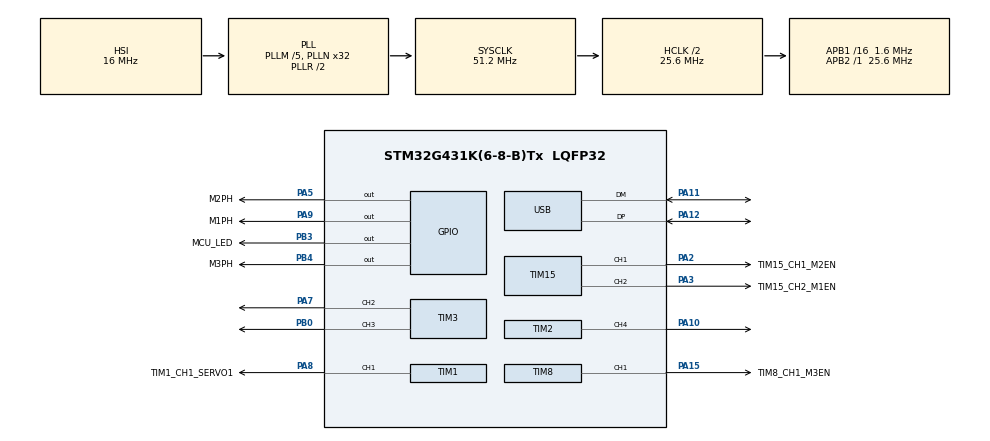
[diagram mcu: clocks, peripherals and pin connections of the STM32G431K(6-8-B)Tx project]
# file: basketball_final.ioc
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Mcu.Family=STM32G4
Mcu.Name=STM32G431K(6-8-B)Tx
Mcu.Package=LQFP32
NVIC.PriorityGroup=NVIC_PRIORITYGROUP_4
NVIC.USB_LP_IRQn=true\:0\:0\:false\:false\:true\:false\:true
PA10.Signal=S_TIM2_CH4
PA11.Mode=Device
PA11.Signal=USB_DM
PA12.Mode=Device
PA12.Signal=USB_DP
PA13.Signal=SYS_JTMS-SWDIO
PA14.Signal=SYS_JTCK-SWCLK
PA15.GPIO_Label=TIM8_CH1_M3EN
PA15.Signal=S_TIM8_CH1
PA2.GPIO_Label=TIM15_CH1_M2EN
PA2.Signal=S_TIM15_CH1
PA3.GPIO_Label=TIM15_CH2_M1EN
PA3.Signal=S_TIM15_CH2
PA5.GPIO_Label=M2PH
PA5.Signal=GPIO_Output
PA7.Signal=S_TIM3_CH2
PA8.GPIO_Label=TIM1_CH1_SERVO1
PA8.Signal=S_TIM1_CH1
PA9.GPIO_Label=M1PH
PA9.Signal=GPIO_Output
PB0.Signal=S_TIM3_CH3
PB3.GPIO_Label=MCU_LED
PB3.Signal=GPIO_Output
PB4.GPIO_Label=M3PH
PB4.Signal=GPIO_Output
ProjectManager.HeapSize=0x200
ProjectManager.StackSize=0x400
ProjectManager.TargetToolchain=STM32CubeIDE
RCC.ADC12Freq_Value=51200000
RCC.AHBCLKDivider=RCC_SYSCLK_DIV2
RCC.AHBFreq_Value=25600000
RCC.APB1CLKDivider=RCC_HCLK_DIV16
RCC.APB1Freq_Value=1600000
RCC.APB1TimFreq_Value=3200000
RCC.APB2Freq_Value=25600000
RCC.APB2TimFreq_Value=25600000
RCC.CK48CLockSelection=RCC_USBCLKSOURCE_HSI48
RCC.CortexFreq_Value=25600000
RCC.EXTERNAL_CLOCK_VALUE=12288000
RCC.HCLKFreq_Value=25600000
RCC.HSE_VALUE=8000000
RCC.HSI48_VALUE=48000000
RCC.HSI_VALUE=16000000
RCC.LSE_VALUE=32768
RCC.PLLM=RCC_PLLM_DIV5
RCC.PLLN=32
RCC.PLLQ=RCC_PLLQ_DIV8
RCC.SYSCLKFreq_VALUE=51200000
RCC.SYSCLKSource=RCC_SYSCLKSOURCE_PLLCLK
RCC.USBFreq_Value=48000000
RCC.VCOOutputFreq_Value=102400000
SH.S_TIM15_CH1.0=TIM15_CH1,PWM Generation1 CH1
SH.S_TIM15_CH2.0=TIM15_CH2,PWM Generation2 CH2
SH.S_TIM1_CH1.0=TIM1_CH1,PWM Generation1 CH1
SH.S_TIM2_CH4.0=TIM2_CH4,PWM Generation4 CH4
SH.S_TIM3_CH2.0=TIM3_CH2,PWM Generation2 CH2
SH.S_TIM3_CH3.0=TIM3_CH3,PWM Generation3 CH3
SH.S_TIM8_CH1.0=TIM8_CH1,PWM Generation1 CH1
TIM1.Channel-PWM\ Generation1\ CH1=TIM_CHANNEL_1
TIM15.Channel-PWM\ Generation1\ CH1=TIM_CHANNEL_1
TIM15.Channel-PWM\ Generation2\ CH2=TIM_CHANNEL_2
TIM2.Channel-PWM\ Generation4\ CH4=TIM_CHANNEL_4
TIM3.Channel-PWM\ Generation2\ CH2=TIM_CHANNEL_2
TIM3.Channel-PWM\ Generation3\ CH3=TIM_CHANNEL_3
TIM8.Channel-PWM\ Generation1\ CH1=TIM_CHANNEL_1
USB_DEVICE.CLASS_NAME_FS=CDC
USB_DEVICE.VirtualMode=Cdc
USB_DEVICE.VirtualModeFS=Cdc_FS
VP_SYS_VS_DBSignals.Mode=DisableDeadBatterySignals
VP_TIM17_VS_ClockSourceINT.Mode=Enable_Timer
VP_USB_DEVICE_VS_USB_DEVICE_CDC_FS.Mode=CDC_FS
board=custom

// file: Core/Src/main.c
/* USER CODE BEGIN Header */
/**
  ******************************************************************************
  * @file           : main.c
  * @brief          : Main program body
  ******************************************************************************
  * @attention
  *
  * <h2><center>&copy; Copyright (c) 2021 STMicroelectronics.
  * All rights reserved.</center></h2>
  *
  * This software component is licensed by ST under BSD 3-Clause license,
  * the "License"; You may not use this file except in compliance with the
  * License. You may obtain a copy of the License at:
  *                        opensource.org/licenses/BSD-3-Clause
  *
  ******************************************************************************
  */
/* USER CODE END Header */
#include "main.h"
#include "usb_device.h"
#include "usbd_cdc_if.h"
#include "stdio.h"
#include "stdlib.h"
#include "string.h"
#include "Math.h"
/* USER CODE BEGIN Includes */
int tv=0;
/* USER CODE END Includes */

TIM_HandleTypeDef htim1;
TIM_HandleTypeDef htim2;
TIM_HandleTypeDef htim3;
TIM_HandleTypeDef htim8;
TIM_HandleTypeDef htim15;
TIM_HandleTypeDef htim17;

void SystemClock_Config(void);
static void MX_GPIO_Init(void);
static void MX_TIM1_Init(void);
static void MX_TIM2_Init(void);
static void MX_TIM3_Init(void);
static void MX_TIM8_Init(void);
static void MX_TIM15_Init(void);
static void MX_TIM17_Init(void);

/* USER CODE BEGIN 0 */
typedef struct Command { // (1)
  int16_t speed1;
  int16_t speed2;
  int16_t speed3;
  uint16_t throwerSpeed;
  uint16_t delimiter; // (2)
} Command;

typedef struct Feedback { // (3)
  int16_t speed1;
  int16_t speed2;
  int16_t speed3;
  uint16_t delimiter;
} Feedback;

char* rec;

uint8_t usbuf[100];
uint8_t lastlen=100;

Command command = {.speed1 = 0, .speed2 = 0, .speed3 = 0, .throwerSpeed = 0, .delimiter = 0}; // (4)
volatile uint8_t isCommandReceived = 0; // (5)

void CDC_On_Receive(uint8_t* buffer, uint32_t* length) { // (6)
  //if (*length == sizeof(Command)) { // (7)
	uint8_t len1=(uint8_t) *length;
	lastlen=len1;
	memset(usbuf, "\0",100);
   memcpy(usbuf, buffer, len1);
	memset(buffer, "\0",100);
   // (8)
    //memcpy(&rec, buffer, 200);
   // if (command.delimiter == 43690) { // (9)
      isCommandReceived = 1;
   // }
 //}
}

uint8_t ret[9][5];
int m2s=0;
uint16_t values[9];
//m1speed,m2speed,m3speed,m1dir,m2dir,m3dir,servo1,servo2,esc

void splitm(uint8_t* msg){

  for (int i=0;i<9;i++){

      values[i]=0;

  }

int count=0;
int mpov=-1;

  for (int i=0;i<lastlen;i++){

    if(msg[i]==';'){int mpov1=mpov;
      while(mpov!=-1){
        values[count]+=(ret[count][mpov1-mpov]-48)*pow(10,mpov);
        mpov--;

      }

      count++; mpov=-1;}

    else{

      mpov++;
      ret[count][mpov]=msg[i];

    }

//    if(msg[i]==';'){ret[0]=10;break;}
//    if(msg[i]==','){ret[0]=50;break;}
//    if(msg[i]==':'){ret[0]=100;break;}
//    if(msg[i]=='|'){ret[0]=0;break;}

  }

}

uint16_t fdbck;

/* USER CODE END 0 */

int main(void)
{

  /* MCU Configuration--------------------------------------------------------*/

  /* Reset of all peripherals, Initializes the Flash interface and the Systick. */
  HAL_Init();

  /* Configure the system clock */
  SystemClock_Config();

  /* Initialize all configured peripherals */
  MX_GPIO_Init();
  MX_USB_Device_Init();
  MX_TIM1_Init();
  MX_TIM2_Init();
  MX_TIM3_Init();
  MX_TIM8_Init();
  MX_TIM15_Init();
  MX_TIM17_Init();

  /* Infinite loop */
  /* USER CODE BEGIN WHILE */

  MX_TIM15_Init();//m1en and m2en
  MX_TIM8_Init();//m3en

  MX_TIM3_Init();//servo2 channel 2
  HAL_TIM_PWM_Start(&htim15, TIM_CHANNEL_2);//m1
  HAL_TIM_PWM_Start(&htim15, TIM_CHANNEL_1);//m2
  HAL_TIM_PWM_Start(&htim8, TIM_CHANNEL_1);//m3
  HAL_TIM_PWM_Start(&htim3, TIM_CHANNEL_2);//servo
  HAL_TIM_PWM_Start(&htim2, TIM_CHANNEL_4);//esc
  HAL_TIM_PWM_Start(&htim3, TIM_CHANNEL_3);//esc

  HAL_GPIO_WritePin(GPIOA, GPIO_PIN_9, GPIO_PIN_SET);
  HAL_GPIO_WritePin(GPIOA, GPIO_PIN_5, GPIO_PIN_SET);
  HAL_GPIO_WritePin(GPIOB, GPIO_PIN_4, GPIO_PIN_SET);

  while (1)
  {
    /* USER CODE END WHILE */

    /* USER CODE BEGIN 3 */

	  if (isCommandReceived) { // (2)
	        isCommandReceived = 0;
	        HAL_GPIO_TogglePin(GPIOB,GPIO_PIN_3); // (3)

	      splitm(usbuf);//allocate values sent from pc to values variable

	      //phase of M1
	      if(values[3]==1)HAL_GPIO_WritePin(GPIOA, GPIO_PIN_9, GPIO_PIN_SET);
	      	  	  else if(values[3]==0)GPIOA -> ODR &= ~GPIO_PIN_9;
	      //phase of M2
	      if(values[4]==1)HAL_GPIO_WritePin(GPIOA, GPIO_PIN_5, GPIO_PIN_SET);
	     	      else if(values[4]==0)GPIOA -> ODR &= ~GPIO_PIN_5;
	      //phase of M3
	      if(values[5]==1)HAL_GPIO_WritePin(GPIOB, M3PH_Pin, GPIO_PIN_SET);
	     	      else if(values[5]==0)GPIOB -> ODR &= ~M3PH_Pin;

	        TIM15->CCR2 = values[0];//M1EN
	          TIM15->CCR1 = values[1];//M2En
	          TIM8->CCR1 = values[2];//M3EN

              //11111;11111;11111;1;1;1;1000;1000;99999 test transmition
//servo and esc receive values from 0-10000, motors from 0 - 65535
int servod=values[6];
servod=(int)servod/1.574;
servod=servod+1640;

	TIM3->CCR2 = servod;//servo2

int escs=values[7];
if(escs!=0){
escs=(int)escs/3.335;
escs=escs+3500;

//
TIM2->CCR4 = escs;//esc
	TIM3->CCR3 = escs;//esc

}

	       //CDC_Transmit_FS(values, sizeof(values)); // (5)

	      }

  }
  /* USER CODE END 3 */
}

void SystemClock_Config(void)
{
  RCC_OscInitTypeDef RCC_OscInitStruct = {0};
  RCC_ClkInitTypeDef RCC_ClkInitStruct = {0};
  RCC_PeriphCLKInitTypeDef PeriphClkInit = {0};

  /** Configure the main internal regulator output voltage
  */
  HAL_PWREx_ControlVoltageScaling(PWR_REGULATOR_VOLTAGE_SCALE1);
  /** Initializes the RCC Oscillators according to the specified parameters
  * in the RCC_OscInitTypeDef structure.
  */
  RCC_OscInitStruct.OscillatorType = RCC_OSCILLATORTYPE_HSI|RCC_OSCILLATORTYPE_HSI48;
  RCC_OscInitStruct.HSIState = RCC_HSI_ON;
  RCC_OscInitStruct.HSICalibrationValue = RCC_HSICALIBRATION_DEFAULT;
  RCC_OscInitStruct.HSI48State = RCC_HSI48_ON;
  RCC_OscInitStruct.PLL.PLLState = RCC_PLL_ON;
  RCC_OscInitStruct.PLL.PLLSource = RCC_PLLSOURCE_HSI;
  RCC_OscInitStruct.PLL.PLLM = RCC_PLLM_DIV5;
  RCC_OscInitStruct.PLL.PLLN = 32;
  RCC_OscInitStruct.PLL.PLLP = RCC_PLLP_DIV2;
  RCC_OscInitStruct.PLL.PLLQ = RCC_PLLQ_DIV8;
  RCC_OscInitStruct.PLL.PLLR = RCC_PLLR_DIV2;
  if (HAL_RCC_OscConfig(&RCC_OscInitStruct) != HAL_OK)
  {
    Error_Handler();
  }
  /** Initializes the CPU, AHB and APB buses clocks
  */
  RCC_ClkInitStruct.ClockType = RCC_CLOCKTYPE_HCLK|RCC_CLOCKTYPE_SYSCLK
                              |RCC_CLOCKTYPE_PCLK1|RCC_CLOCKTYPE_PCLK2;
  RCC_ClkInitStruct.SYSCLKSource = RCC_SYSCLKSOURCE_PLLCLK;
  RCC_ClkInitStruct.AHBCLKDivider = RCC_SYSCLK_DIV2;
  RCC_ClkInitStruct.APB1CLKDivider = RCC_HCLK_DIV16;
  RCC_ClkInitStruct.APB2CLKDivider = RCC_HCLK_DIV1;

  if (HAL_RCC_ClockConfig(&RCC_ClkInitStruct, FLASH_LATENCY_0) != HAL_OK)
  {
    Error_Handler();
  }
  /** Initializes the peripherals clocks
  */
  PeriphClkInit.PeriphClockSelection = RCC_PERIPHCLK_USB;
  PeriphClkInit.UsbClockSelection = RCC_USBCLKSOURCE_HSI48;
  if (HAL_RCCEx_PeriphCLKConfig(&PeriphClkInit) != HAL_OK)
  {
    Error_Handler();
  }
}

static void MX_TIM1_Init(void)
{

  TIM_MasterConfigTypeDef sMasterConfig = {0};
  TIM_OC_InitTypeDef sConfigOC = {0};
  TIM_BreakDeadTimeConfigTypeDef sBreakDeadTimeConfig = {0};

  htim1.Instance = TIM1;
  htim1.Init.Prescaler = 0;
  htim1.Init.CounterMode = TIM_COUNTERMODE_UP;
  htim1.Init.Period = 65535;
  htim1.Init.ClockDivision = TIM_CLOCKDIVISION_DIV1;
  htim1.Init.RepetitionCounter = 0;
  htim1.Init.AutoReloadPreload = TIM_AUTORELOAD_PRELOAD_DISABLE;
  if (HAL_TIM_PWM_Init(&htim1) != HAL_OK)
  {
    Error_Handler();
  }
  sMasterConfig.MasterOutputTrigger = TIM_TRGO_RESET;
  sMasterConfig.MasterOutputTrigger2 = TIM_TRGO2_RESET;
  sMasterConfig.MasterSlaveMode = TIM_MASTERSLAVEMODE_DISABLE;
  if (HAL_TIMEx_MasterConfigSynchronization(&htim1, &sMasterConfig) != HAL_OK)
  {
    Error_Handler();
  }
  sConfigOC.OCMode = TIM_OCMODE_PWM1;
  sConfigOC.Pulse = 0;
  sConfigOC.OCPolarity = TIM_OCPOLARITY_HIGH;
  sConfigOC.OCNPolarity = TIM_OCNPOLARITY_HIGH;
  sConfigOC.OCFastMode = TIM_OCFAST_DISABLE;
  sConfigOC.OCIdleState = TIM_OCIDLESTATE_RESET;
  sConfigOC.OCNIdleState = TIM_OCNIDLESTATE_RESET;
  if (HAL_TIM_PWM_ConfigChannel(&htim1, &sConfigOC, TIM_CHANNEL_1) != HAL_OK)
  {
    Error_Handler();
  }
  sBreakDeadTimeConfig.OffStateRunMode = TIM_OSSR_DISABLE;
  sBreakDeadTimeConfig.OffStateIDLEMode = TIM_OSSI_DISABLE;
  sBreakDeadTimeConfig.LockLevel = TIM_LOCKLEVEL_OFF;
  sBreakDeadTimeConfig.DeadTime = 0;
  sBreakDeadTimeConfig.BreakState = TIM_BREAK_DISABLE;
  sBreakDeadTimeConfig.BreakPolarity = TIM_BREAKPOLARITY_HIGH;
  sBreakDeadTimeConfig.BreakFilter = 0;
  sBreakDeadTimeConfig.BreakAFMode = TIM_BREAK_AFMODE_INPUT;
  sBreakDeadTimeConfig.Break2State = TIM_BREAK2_DISABLE;
  sBreakDeadTimeConfig.Break2Polarity = TIM_BREAK2POLARITY_HIGH;
  sBreakDeadTimeConfig.Break2Filter = 0;
  sBreakDeadTimeConfig.Break2AFMode = TIM_BREAK_AFMODE_INPUT;
  sBreakDeadTimeConfig.AutomaticOutput = TIM_AUTOMATICOUTPUT_DISABLE;
  if (HAL_TIMEx_ConfigBreakDeadTime(&htim1, &sBreakDeadTimeConfig) != HAL_OK)
  {
    Error_Handler();
  }
  HAL_TIM_MspPostInit(&htim1);

}

static void MX_TIM2_Init(void)
{

  TIM_MasterConfigTypeDef sMasterConfig = {0};
  TIM_OC_InitTypeDef sConfigOC = {0};

  htim2.Instance = TIM2;
  htim2.Init.Prescaler = 0;
  htim2.Init.CounterMode = TIM_COUNTERMODE_UP;
  htim2.Init.Period = 4.294967295E9;
  htim2.Init.ClockDivision = TIM_CLOCKDIVISION_DIV1;
  htim2.Init.AutoReloadPreload = TIM_AUTORELOAD_PRELOAD_DISABLE;
  if (HAL_TIM_PWM_Init(&htim2) != HAL_OK)
  {
    Error_Handler();
  }
  sMasterConfig.MasterOutputTrigger = TIM_TRGO_RESET;
  sMasterConfig.MasterSlaveMode = TIM_MASTERSLAVEMODE_DISABLE;
  if (HAL_TIMEx_MasterConfigSynchronization(&htim2, &sMasterConfig) != HAL_OK)
  {
    Error_Handler();
  }
  sConfigOC.OCMode = TIM_OCMODE_PWM1;
  sConfigOC.Pulse = 0;
  sConfigOC.OCPolarity = TIM_OCPOLARITY_HIGH;
  sConfigOC.OCFastMode = TIM_OCFAST_DISABLE;
  if (HAL_TIM_PWM_ConfigChannel(&htim2, &sConfigOC, TIM_CHANNEL_4) != HAL_OK)
  {
    Error_Handler();
  }
  HAL_TIM_MspPostInit(&htim2);

}

static void MX_TIM3_Init(void)
{

  TIM_MasterConfigTypeDef sMasterConfig = {0};
  TIM_OC_InitTypeDef sConfigOC = {0};

  htim3.Instance = TIM3;
  htim3.Init.Prescaler = 0;
  htim3.Init.CounterMode = TIM_COUNTERMODE_UP;
  htim3.Init.Period = 65535;
  htim3.Init.ClockDivision = TIM_CLOCKDIVISION_DIV1;
  htim3.Init.AutoReloadPreload = TIM_AUTORELOAD_PRELOAD_DISABLE;
  if (HAL_TIM_PWM_Init(&htim3) != HAL_OK)
  {
    Error_Handler();
  }
  sMasterConfig.MasterOutputTrigger = TIM_TRGO_RESET;
  sMasterConfig.MasterSlaveMode = TIM_MASTERSLAVEMODE_DISABLE;
  if (HAL_TIMEx_MasterConfigSynchronization(&htim3, &sMasterConfig) != HAL_OK)
  {
    Error_Handler();
  }
  sConfigOC.OCMode = TIM_OCMODE_PWM1;
  sConfigOC.Pulse = 0;
  sConfigOC.OCPolarity = TIM_OCPOLARITY_HIGH;
  sConfigOC.OCFastMode = TIM_OCFAST_DISABLE;
  if (HAL_TIM_PWM_ConfigChannel(&htim3, &sConfigOC, TIM_CHANNEL_2) != HAL_OK)
  {
    Error_Handler();
  }
  sConfigOC.Pulse = 0;
  if (HAL_TIM_PWM_ConfigChannel(&htim3, &sConfigOC, TIM_CHANNEL_3) != HAL_OK)
  {
    Error_Handler();
  }
  HAL_TIM_MspPostInit(&htim3);

}

static void MX_TIM8_Init(void)
{

  TIM_MasterConfigTypeDef sMasterConfig = {0};
  TIM_OC_InitTypeDef sConfigOC = {0};
  TIM_BreakDeadTimeConfigTypeDef sBreakDeadTimeConfig = {0};

  htim8.Instance = TIM8;
  htim8.Init.Prescaler = 0;
  htim8.Init.CounterMode = TIM_COUNTERMODE_UP;
  htim8.Init.Period = 65535;
  htim8.Init.ClockDivision = TIM_CLOCKDIVISION_DIV1;
  htim8.Init.RepetitionCounter = 0;
  htim8.Init.AutoReloadPreload = TIM_AUTORELOAD_PRELOAD_DISABLE;
  if (HAL_TIM_PWM_Init(&htim8) != HAL_OK)
  {
    Error_Handler();
  }
  sMasterConfig.MasterOutputTrigger = TIM_TRGO_RESET;
  sMasterConfig.MasterOutputTrigger2 = TIM_TRGO2_RESET;
  sMasterConfig.MasterSlaveMode = TIM_MASTERSLAVEMODE_DISABLE;
  if (HAL_TIMEx_MasterConfigSynchronization(&htim8, &sMasterConfig) != HAL_OK)
  {
    Error_Handler();
  }
  sConfigOC.OCMode = TIM_OCMODE_PWM1;
  sConfigOC.Pulse = 0;
  sConfigOC.OCPolarity = TIM_OCPOLARITY_HIGH;
  sConfigOC.OCNPolarity = TIM_OCNPOLARITY_HIGH;
  sConfigOC.OCFastMode = TIM_OCFAST_DISABLE;
  sConfigOC.OCIdleState = TIM_OCIDLESTATE_RESET;
  sConfigOC.OCNIdleState = TIM_OCNIDLESTATE_RESET;
  if (HAL_TIM_PWM_ConfigChannel(&htim8, &sConfigOC, TIM_CHANNEL_1) != HAL_OK)
  {
    Error_Handler();
  }
  sBreakDeadTimeConfig.OffStateRunMode = TIM_OSSR_DISABLE;
  sBreakDeadTimeConfig.OffStateIDLEMode = TIM_OSSI_DISABLE;
  sBreakDeadTimeConfig.LockLevel = TIM_LOCKLEVEL_OFF;
  sBreakDeadTimeConfig.DeadTime = 0;
  sBreakDeadTimeConfig.BreakState = TIM_BREAK_DISABLE;
  sBreakDeadTimeConfig.BreakPolarity = TIM_BREAKPOLARITY_HIGH;
  sBreakDeadTimeConfig.BreakFilter = 0;
  sBreakDeadTimeConfig.BreakAFMode = TIM_BREAK_AFMODE_INPUT;
  sBreakDeadTimeConfig.Break2State = TIM_BREAK2_DISABLE;
  sBreakDeadTimeConfig.Break2Polarity = TIM_BREAK2POLARITY_HIGH;
  sBreakDeadTimeConfig.Break2Filter = 0;
  sBreakDeadTimeConfig.Break2AFMode = TIM_BREAK_AFMODE_INPUT;
  sBreakDeadTimeConfig.AutomaticOutput = TIM_AUTOMATICOUTPUT_DISABLE;
  if (HAL_TIMEx_ConfigBreakDeadTime(&htim8, &sBreakDeadTimeConfig) != HAL_OK)
  {
    Error_Handler();
  }
  HAL_TIM_MspPostInit(&htim8);

}

static void MX_TIM15_Init(void)
{

  TIM_MasterConfigTypeDef sMasterConfig = {0};
  TIM_OC_InitTypeDef sConfigOC = {0};
  TIM_BreakDeadTimeConfigTypeDef sBreakDeadTimeConfig = {0};

  htim15.Instance = TIM15;
  htim15.Init.Prescaler = 0;
  htim15.Init.CounterMode = TIM_COUNTERMODE_UP;
  htim15.Init.Period = 65535;
  htim15.Init.ClockDivision = TIM_CLOCKDIVISION_DIV1;
  htim15.Init.RepetitionCounter = 0;
  htim15.Init.AutoReloadPreload = TIM_AUTORELOAD_PRELOAD_DISABLE;
  if (HAL_TIM_PWM_Init(&htim15) != HAL_OK)
  {
    Error_Handler();
  }
  sMasterConfig.MasterOutputTrigger = TIM_TRGO_RESET;
  sMasterConfig.MasterSlaveMode = TIM_MASTERSLAVEMODE_DISABLE;
  if (HAL_TIMEx_MasterConfigSynchronization(&htim15, &sMasterConfig) != HAL_OK)
  {
    Error_Handler();
  }
  sConfigOC.OCMode = TIM_OCMODE_PWM1;
  sConfigOC.Pulse = 0;
  sConfigOC.OCPolarity = TIM_OCPOLARITY_HIGH;
  sConfigOC.OCNPolarity = TIM_OCNPOLARITY_HIGH;
  sConfigOC.OCFastMode = TIM_OCFAST_DISABLE;
  sConfigOC.OCIdleState = TIM_OCIDLESTATE_RESET;
  sConfigOC.OCNIdleState = TIM_OCNIDLESTATE_RESET;
  if (HAL_TIM_PWM_ConfigChannel(&htim15, &sConfigOC, TIM_CHANNEL_1) != HAL_OK)
  {
    Error_Handler();
  }
  sConfigOC.Pulse = 0;
  if (HAL_TIM_PWM_ConfigChannel(&htim15, &sConfigOC, TIM_CHANNEL_2) != HAL_OK)
  {
    Error_Handler();
  }
  sBreakDeadTimeConfig.OffStateRunMode = TIM_OSSR_DISABLE;
  sBreakDeadTimeConfig.OffStateIDLEMode = TIM_OSSI_DISABLE;
  sBreakDeadTimeConfig.LockLevel = TIM_LOCKLEVEL_OFF;
  sBreakDeadTimeConfig.DeadTime = 0;
  sBreakDeadTimeConfig.BreakState = TIM_BREAK_DISABLE;
  sBreakDeadTimeConfig.BreakPolarity = TIM_BREAKPOLARITY_HIGH;
  sBreakDeadTimeConfig.BreakFilter = 0;
  sBreakDeadTimeConfig.AutomaticOutput = TIM_AUTOMATICOUTPUT_DISABLE;
  if (HAL_TIMEx_ConfigBreakDeadTime(&htim15, &sBreakDeadTimeConfig) != HAL_OK)
  {
    Error_Handler();
  }
  HAL_TIM_MspPostInit(&htim15);

}

static void MX_TIM17_Init(void)
{

  htim17.Instance = TIM17;
  htim17.Init.Prescaler = 0;
  htim17.Init.CounterMode = TIM_COUNTERMODE_UP;
  htim17.Init.Period = 65535;
  htim17.Init.ClockDivision = TIM_CLOCKDIVISION_DIV1;
  htim17.Init.RepetitionCounter = 0;
  htim17.Init.AutoReloadPreload = TIM_AUTORELOAD_PRELOAD_DISABLE;
  if (HAL_TIM_Base_Init(&htim17) != HAL_OK)
  {
    Error_Handler();
  }

}

static void MX_GPIO_Init(void)
{
  GPIO_InitTypeDef GPIO_InitStruct = {0};

  /* GPIO Ports Clock Enable */
  __HAL_RCC_GPIOA_CLK_ENABLE();
  __HAL_RCC_GPIOB_CLK_ENABLE();

  /*Configure GPIO pin Output Level */
  HAL_GPIO_WritePin(GPIOA, M2PH_Pin|M1PH_Pin, GPIO_PIN_RESET);

  /*Configure GPIO pin Output Level */
  HAL_GPIO_WritePin(GPIOB, MCU_LED_Pin|M3PH_Pin, GPIO_PIN_RESET);

  /*Configure GPIO pins : M2PH_Pin M1PH_Pin */
  GPIO_InitStruct.Pin = M2PH_Pin|M1PH_Pin;
  GPIO_InitStruct.Mode = GPIO_MODE_OUTPUT_PP;
  GPIO_InitStruct.Pull = GPIO_NOPULL;
  GPIO_InitStruct.Speed = GPIO_SPEED_FREQ_LOW;
  HAL_GPIO_Init(GPIOA, &GPIO_InitStruct);

  /*Configure GPIO pins : MCU_LED_Pin M3PH_Pin */
  GPIO_InitStruct.Pin = MCU_LED_Pin|M3PH_Pin;
  GPIO_InitStruct.Mode = GPIO_MODE_OUTPUT_PP;
  GPIO_InitStruct.Pull = GPIO_NOPULL;
  GPIO_InitStruct.Speed = GPIO_SPEED_FREQ_LOW;
  HAL_GPIO_Init(GPIOB, &GPIO_InitStruct);

}

void Error_Handler(void)
{
}

/************************ (C) COPYRIGHT STMicroelectronics *****END OF FILE****/
